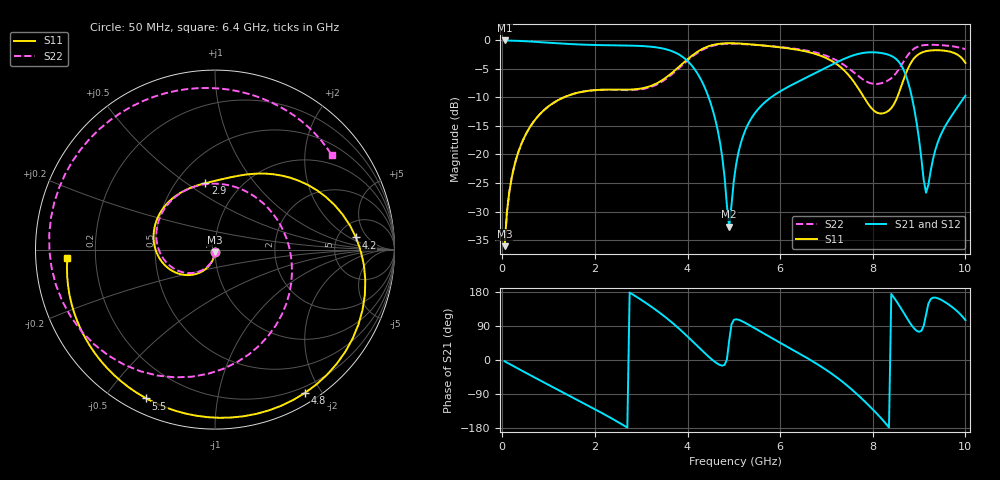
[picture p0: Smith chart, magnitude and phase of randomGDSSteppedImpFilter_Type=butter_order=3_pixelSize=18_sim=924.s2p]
! freq	dB(S11)	phase(S11)	dB(S12)	phase(S12)
!  dB(S21)	phase(S21)	dB(S22)	phase(S22)
!S-par simulation data
#  GHz  S  DB  R 50
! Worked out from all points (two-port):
!   200 points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, 50 MHz to 10 GHz, reference 50 ohm
!   highest |S21| = -0.01 dB at 50 MHz (marker M1); lowest = -32.6 dB at 4.9 GHz (marker M2)
!   |S21| within 3 dB of the highest: start of sweep to 3.913 GHz; 7.448 GHz to 8.462 GHz (1.014 GHz wide, 12.8 % of centre)
!   lowest |S11| = -36.1 dB at 50 MHz (marker M3), VSWR 1.03, Z = 49.9 - j1.57 ohm
!   |S11| at or under -10 dB: start of sweep to 1.323 GHz; 7.811 GHz to 8.525 GHz (714.8 MHz wide, 8.75 % of centre)
!   |S22| runs from -36.1 to -0.6 dB; largest |S21 - S12| = 0
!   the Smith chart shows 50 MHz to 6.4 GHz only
!   S11 on the Smith chart (normalised r, x): 50 MHz: 1.00, -0.03; 2.9 GHz: 0.69, +0.59; 4.2 GHz: 7.48, +2.67; 4.8 GHz: 0.13, -1.80; 5.5 GHz: 0.06, -0.64; 6.4 GHz: 0.10, -0.03
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0.05  -36.07 -92.8  -0.01 -3.4  -0.01 -3.4  -36.08 -93.1
0.2  -24.21 -102.9  -0.04 -13.4  -0.04 -13.4  -24.21 -104.1
0.5  -16.59 -122.1  -0.14 -33.2  -0.14 -33.2  -16.60 -125.1
1.75  -8.97 162.5  -0.74 -113.6  -0.74 -113.6  -8.98 149.3
2.9  -8.54 98.4  -0.94 166.6  -0.94 166.6  -8.66 54.0
3.4  -7.24 71.6  -1.31 124.6  -1.31 124.6  -7.46 -4.3
4.2  -2.07 4.9  -5.61 38.2  -5.61 38.2  -2.26 -114.5
4.8  -0.51 -57.8  -23.99 -12.9  -23.99 -12.9  -0.62 169.1
4.9  -0.49 -67.1  -32.65 51.7  -32.65 51.7  -0.59 158.3
5.05  -0.52 -80.2  -21.71 107.6  -21.71 107.6  -0.60 143.2
5.5  -0.79 -114.8  -12.28 80.3  -12.28 80.3  -0.81 103.6
6.4  -1.68 -176.9  -7.19 18.1  -7.19 18.1  -1.55 39.0
6.7  -2.23 160.1  -5.97 -3.3  -5.97 -3.3  -1.99 19.8
7.25  -4.33 105.5  -3.73 -48.4  -3.73 -48.4  -3.65 -11.9
7.7  -8.56 32.6  -2.34 -94.7  -2.34 -94.7  -6.32 -26.5
8.05  -12.47 -65.2  -2.09 -136.7  -2.09 -136.7  -7.63 -21.7
8.35  -12.28 -175.5  -2.55 -177.9  -2.55 -177.9  -6.91 -14.1
8.6  -8.39 75.0  -4.17 138.2  -4.17 138.2  -4.59 -10.1
8.8  -4.26 -2.8  -8.42 98.4  -8.42 98.4  -2.14 -19.2
9.15  -1.89 -89.8  -26.71 119.8  -26.71 119.8  -0.80 -44.4
9.6  -1.86 -154.3  -14.53 149.8  -14.53 149.8  -0.91 -66.8
10  -3.95 140.0  -9.71 105.2  -9.71 105.2  -1.54 -81.7
